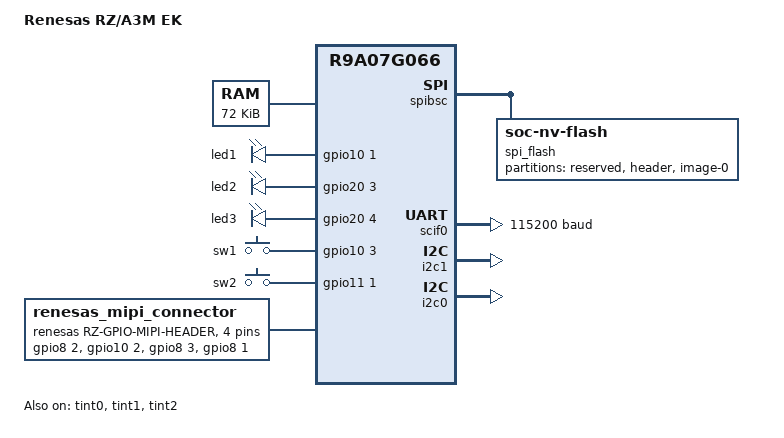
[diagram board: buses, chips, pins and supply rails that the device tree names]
/*
 * SPDX-FileCopyrightText: 2025-2026 Renesas Electronics Corporation
 * SPDX-License-Identifier: Apache-2.0
 */

/dts-v1/;

#include <freq.h>
#include <arm64/renesas/rz/rza/r9a07g066.dtsi>
#include <zephyr/dt-bindings/memory-attr/memory-attr-arm.h>
#include <zephyr/dt-bindings/input/input-event-codes.h>
#include <zephyr/dt-bindings/gpio/renesas-rz-gpio.h>
#include "rza3m_ek-pinctrl.dtsi"
#include <zephyr/dt-bindings/display/panel.h>

/ {
	model = "Renesas RZ/A3M EK";
	compatible = "renesas,rza3m-ek";

	chosen {
		zephyr,sram = &ddr;
		zephyr,flash = &spi_flash;
		zephyr,console = &scif0;
		zephyr,shell-uart = &scif0;
		zephyr,code-partition = &slot0_partition;
		zephyr,display = &zephyr_lcdif;
	};

	ddr: memory@40200000 {
		compatible = "zephyr,memory-region", "mmio-sram";
		reg = <0x40200000 (DT_SIZE_M(128) - 0x200000)>;
		zephyr,memory-region = "DDR";
	};

	sram: memory@1e000 {
		compatible = "zephyr,memory-region", "mmio-sram";
		reg = <0x1e000 DT_SIZE_K(72)>;
		zephyr,memory-region = "SRAM";
	};

	aliases {
		led0 = &led1;
		sw0 = &sw1;
		mipi-dsi = &mipi_dsi;
	};

	leds {
		compatible = "gpio-leds";

		led1: led1 {
			gpios = <&gpio10 1 GPIO_ACTIVE_HIGH>;
			label = "led1";
		};

		led2: led2 {
			gpios = <&gpio20 3 GPIO_ACTIVE_HIGH>;
			label = "led2";
		};

		led3: led3 {
			gpios = <&gpio20 4 GPIO_ACTIVE_HIGH>;
			label = "led3";
		};
	};

	gpio_keys {
		compatible = "gpio-keys";

		sw1: sw1 {
			label = "sw1";
			gpios = <&gpio10 3 GPIO_ACTIVE_HIGH>;
			zephyr,code = <INPUT_KEY_0>;
		};

		sw2: sw2 {
			label = "sw2";
			gpios = <&gpio11 1 GPIO_ACTIVE_HIGH>;
			zephyr,code = <INPUT_KEY_1>;
		};
	};

	renesas_mipi_connector: mipi-connector {
		compatible = "renesas,rz-gpio-mipi-header";
		#gpio-cells = <2>;
		gpio-map-mask = <0xffffffff 0xffffffc0>;
		gpio-map-pass-thru = <0 0x3f>;
		gpio-map = <20 0 &gpio8 2 0>,  /* I2C_SDA */
			   <21 0 &gpio10 2 0>, /* DIMMER */
			   <22 0 &gpio8 3 0>,  /* I2C_SCL */
			   <23 0 &gpio8 1 0>;  /* TP_INT */
	};
};

&spibsc {
	spi_flash: memory@20000000 {
		compatible = "soc-nv-flash";
		reg = <0x20000000 DT_SIZE_M(32)>;
		ranges = <0x0 0x20000000 DT_SIZE_M(32)>;
		#address-cells = <1>;
		#size-cells = <1>;

		partitions {
			ranges;
			#address-cells = <1>;
			#size-cells = <1>;

			reserved: partition@0 {
				compatible = "zephyr,mapped-partition";
				reg = <0x0 0x20000>;
				read-only;
			};

			header: partition@20000 {
				label = "header";
				compatible = "zephyr,mapped-partition";
				reg = <0x20000 0x200>;
				read-only;
			};

			slot0_partition: partition@20200 {
				label = "image-0";
				compatible = "zephyr,mapped-partition";
				reg = <0x20200 (DT_SIZE_M(32) - 0x20200)>;
				read-only;
			};
		};
	};
};

&scif0 {
	current-speed = <115200>;
	pinctrl-0 = <&scif0_pins>;
	pinctrl-names = "default";
	status = "okay";
};

&tint0 {
	status = "okay";
};

&tint1 {
	status = "okay";
};

&tint2 {
	status = "okay";
};

&gpio {
	status = "okay";
};

&gpio8 {
	status = "okay";
};

&gpio10 {
	irqs = <&tint0 1>, <&tint1 3>;
	status = "okay";
};

&gpio11 {
	irqs = <&tint2 1>;
	status = "okay";
};

&gpio20 {
	status = "okay";
};

/* alias used by display shields */
zephyr_lcdif: &lcdif {};

/* alias used by display shields */
zephyr_mipi_dsi: &mipi_dsi {};

renesas_mipi_i2c: &i2c1 {};

&i2c0 {
	pinctrl-0 = <&i2c0_pins>;
	pinctrl-names = "default";
	status = "okay";
};

&i2c1 {
	pinctrl-0 = <&i2c1_pins>;
	pinctrl-names = "default";
	status = "okay";
};
